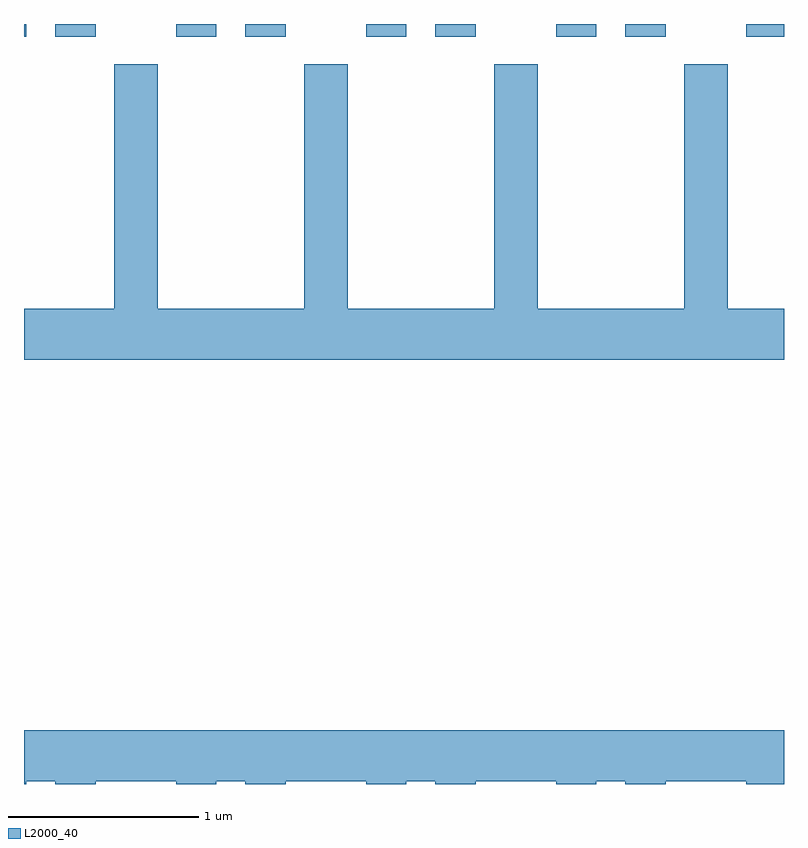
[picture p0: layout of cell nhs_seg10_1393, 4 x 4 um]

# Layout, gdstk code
import gdstk
lib = gdstk.Library(unit=1e-6, precision=1e-09)
def R(c, l, rs):  # rectangles x0, y0, x1, y1
    for r in rs: c.add(gdstk.rectangle(r[:2], r[2:], *l))
def P(c, l, *ps):  # polygons
    for p in ps: c.add(gdstk.Polygon(p, *l))
L2000_40 = (2000, 40)

nhs_seg10_1393 = lib.new_cell('nhs_seg10_1393')
R(nhs_seg10_1393, L2000_40, [(225.611,2164.456,225.624,2164.522), (225.776,2164.456,225.989,2164.522), (226.411,2164.456,226.624,2164.522), (226.776,2164.456,226.989,2164.522), (227.411,2164.456,227.624,2164.522), (227.776,2164.456,227.989,2164.522), (228.411,2164.456,228.624,2164.522), (228.776,2164.456,228.989,2164.522), (229.411,2164.456,229.611,2164.522)])
P(nhs_seg10_1393, L2000_40, [(229.611,2163.024),(229.314,2163.024),(229.314,2164.309),(229.086,2164.309),(229.086,2163.024),(228.314,2163.024),(228.314,2164.309),(228.086,2164.309),(228.086,2163.024),(227.314,2163.024),(227.314,2164.309),(227.086,2164.309),(227.086,2163.024),(226.314,2163.024),(226.314,2164.309),(226.086,2164.309),(226.086,2163.024),(225.611,2163.024),(225.611,2162.756),(229.611,2162.756)],
  [(225.624,2160.536),(225.776,2160.536),(225.776,2160.522),(225.989,2160.522),(225.989,2160.536),(226.411,2160.536),(226.411,2160.522),(226.624,2160.522),(226.624,2160.536),(226.776,2160.536),(226.776,2160.522),(226.989,2160.522),(226.989,2160.536),(227.411,2160.536),(227.411,2160.522),(227.624,2160.522),(227.624,2160.536),(227.776,2160.536),(227.776,2160.522),(227.989,2160.522),(227.989,2160.536),(228.411,2160.536),(228.411,2160.522),(228.624,2160.522),(228.624,2160.536),(228.776,2160.536),(228.776,2160.522),(228.989,2160.522),(228.989,2160.536),(229.411,2160.536),(229.411,2160.522),(229.611,2160.522),(229.611,2160.804),(225.611,2160.804),(225.611,2160.522),(225.624,2160.522)])

lib.write_gds('nhs_seg10_1393.gds')
